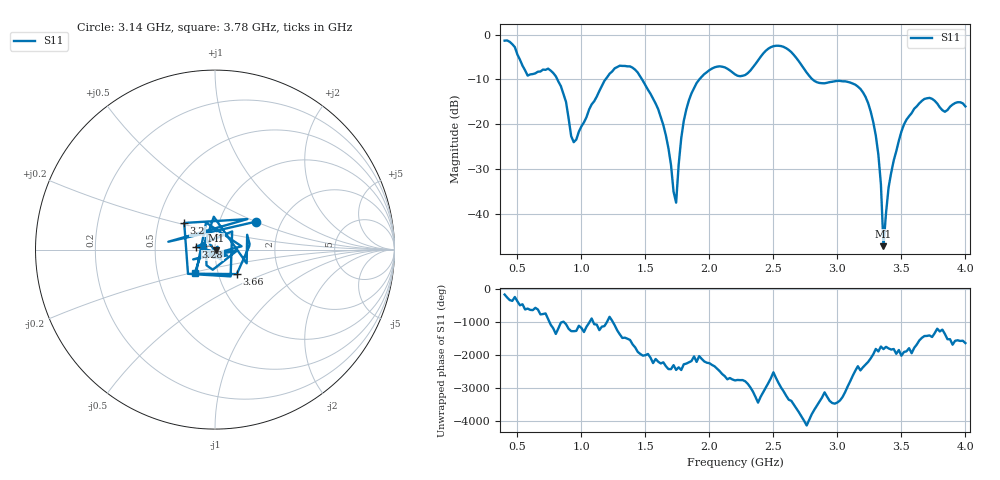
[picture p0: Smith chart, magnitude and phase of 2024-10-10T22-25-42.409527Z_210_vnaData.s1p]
! Created with skrf (http://scikit-rf.org).
# Hz S RI R 50.0
!freq ReS11 ImS11
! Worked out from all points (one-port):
!   181 points, 400 MHz to 4 GHz, reference 50 ohm
!   lowest |S11| = -47.1 dB at 3.36 GHz (marker M1), VSWR 1.01, Z = 50.4 - j0.227 ohm
!   |S11| at or under -10 dB: 812.2 MHz to 1.188 GHz (375.7 MHz wide, 37.6 % of centre); 1.474 GHz to 1.921 GHz (446.9 MHz wide, 26.3 % of centre); 2.806 GHz to end of sweep
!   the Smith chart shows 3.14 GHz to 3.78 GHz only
!   S11 on the Smith chart (normalised r, x): 3.14 GHz: 1.49, +0.50; 3.2 GHz: 0.68, +0.21; 3.28 GHz: 0.81, +0.03; 3.66 GHz: 1.22, -0.35; 3.78 GHz: 0.77, -0.21
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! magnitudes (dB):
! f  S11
! 400 MHz  -1.3
! 580 MHz  -9.1
! 740 MHz  -7.6
! 860 MHz  -13.2
! 940 MHz  -24.0
! 1.3 GHz  -6.9
! 1.44 GHz  -8.4
! 1.6 GHz  -16.6
! 1.68 GHz  -25.3
! 1.74 GHz  -37.5
! 1.76 GHz  -28.9
! 1.8 GHz  -19.2
! 1.9 GHz  -10.8
! 2.2 GHz  -8.9
! 2.5 GHz  -2.6
! 2.66 GHz  -4.5
! 2.84 GHz  -10.6
! 3.1 GHz  -10.7
! 3.14 GHz  -11.2
! 3.2 GHz  -12.9
! 3.28 GHz  -19.5
! 3.34 GHz  -33.4
! 3.36 GHz  -47.1
! 3.42 GHz  -30.8
! 3.56 GHz  -18.2
! 3.66 GHz  -14.8
! 3.78 GHz  -15.4
! 4 GHz  -16.0
